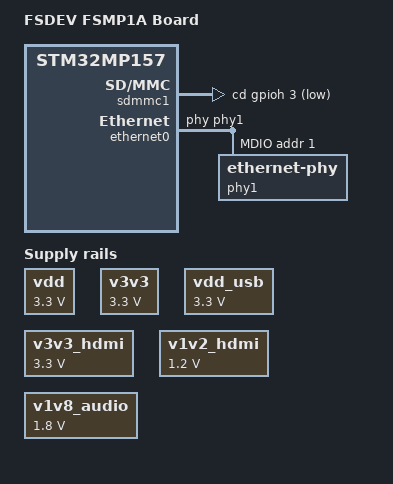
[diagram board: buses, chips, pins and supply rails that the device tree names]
// SPDX-License-Identifier: (GPL-2.0+ OR BSD-3-Clause)
/*
 * Copyright (C) STMicroelectronics 2019 - All Rights Reserved
 * Author: Alexandre Torgue <alexandre.torgue@st.com> for STMicroelectronics.
 */

/dts-v1/;

#include "stm32mp157.dtsi"
#include "stm32mp15-pinctrl.dtsi"
#include "stm32mp15xxac-pinctrl.dtsi"
#include "stm32mp15xx-dkx.dtsi"

/ {
	model = "FSDEV FSMP1A Board";
	compatible = "fsdev,fsmp1a", "st,stm32mp157";

	aliases {
		ethernet0 = &ethernet0;
	};

	chosen {
		stdout-path = "serial0:115200n8";
	};

	/*
	 * Board is discrete power supplied: no STPMIC1 on I2C4. Replace the
	 * PMIC rails still referenced by stm32mp15xx-dkx.dtsi by fixed
	 * regulators carrying the same labels.
	 */
	vdd: regulator-vdd {
		compatible = "regulator-fixed";
		regulator-name = "vdd";
		regulator-min-microvolt = <3300000>;
		regulator-max-microvolt = <3300000>;
		regulator-always-on;
		regulator-boot-on;
	};

	v3v3: regulator-v3v3 {
		compatible = "regulator-fixed";
		regulator-name = "v3v3";
		regulator-min-microvolt = <3300000>;
		regulator-max-microvolt = <3300000>;
		regulator-always-on;
		regulator-boot-on;
	};

	vdd_usb: regulator-vdd-usb {
		compatible = "regulator-fixed";
		regulator-name = "vdd_usb";
		regulator-min-microvolt = <3300000>;
		regulator-max-microvolt = <3300000>;
		regulator-always-on;
		regulator-boot-on;
	};

	v3v3_hdmi: regulator-v3v3-hdmi {
		compatible = "regulator-fixed";
		regulator-name = "v3v3_hdmi";
		regulator-min-microvolt = <3300000>;
		regulator-max-microvolt = <3300000>;
		regulator-always-on;
		regulator-boot-on;
	};

	v1v2_hdmi: regulator-v1v2-hdmi {
		compatible = "regulator-fixed";
		regulator-name = "v1v2_hdmi";
		regulator-min-microvolt = <1200000>;
		regulator-max-microvolt = <1200000>;
		regulator-always-on;
		regulator-boot-on;
	};

	v1v8_audio: regulator-v1v8-audio {
		compatible = "regulator-fixed";
		regulator-name = "v1v8_audio";
		regulator-min-microvolt = <1800000>;
		regulator-max-microvolt = <1800000>;
		regulator-always-on;
		regulator-boot-on;
	};
};

/* I2C4 carries only the STPMIC1 and the STUSB1600, neither is fitted. */
/delete-node/ &i2c4;

/* Its USB-C connector endpoint went away with the STUSB1600. */
&usbotg_hs {
	/delete-node/ port;
};

&sdmmc1 {
	cd-gpios = <&gpioh 3 (GPIO_ACTIVE_LOW | GPIO_PULL_UP)>;
};

&ethernet0 {
	phy-handle = <&phy1>;

	mdio {
		/delete-node/ ethernet-phy@0;

		phy1: ethernet-phy@1 {
			reg = <1>;
		};
	};
};
